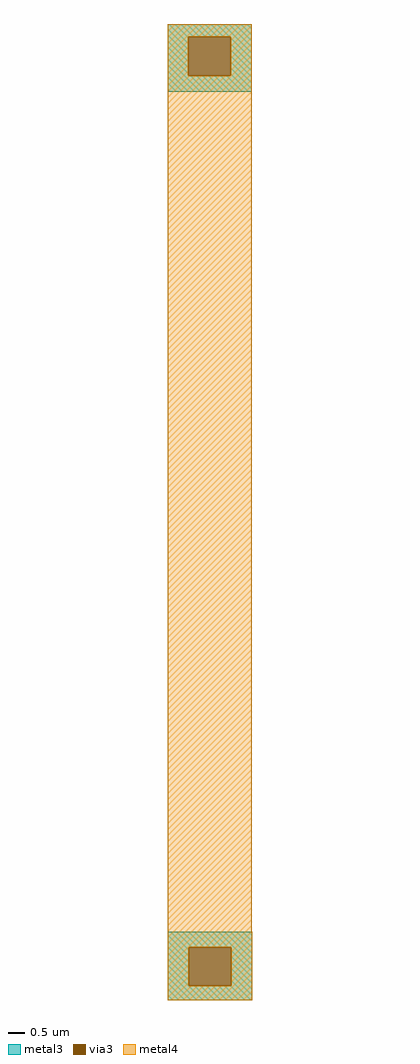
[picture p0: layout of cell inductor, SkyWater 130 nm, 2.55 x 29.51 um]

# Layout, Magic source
magic
tech sky130A
<< metal3 >>
rect 0 2706 254 2745
rect 0 2589 62 2706
rect 190 2589 254 2706
rect 0 2540 254 2589
rect 0 -46 255 0
rect 0 -163 64 -46
rect 192 -163 255 -46
rect 0 -206 255 -163
<< via3 >>
rect 62 2589 190 2706
rect 64 -163 192 -46
<< metal4 >>
rect 0 2706 254 2745
rect 0 2589 62 2706
rect 190 2589 254 2706
rect 0 0 254 2589
rect 0 -46 255 0
rect 0 -163 64 -46
rect 192 -163 255 -46
rect 0 -206 255 -163
<< end >>
